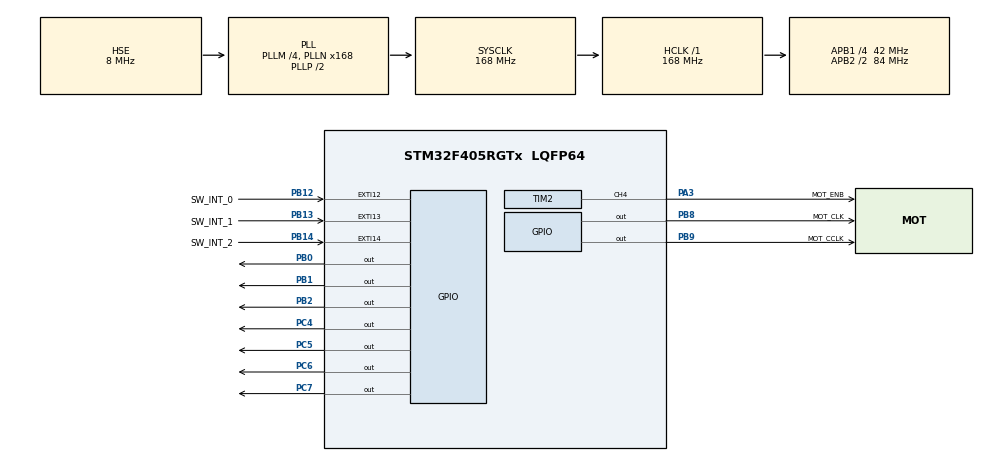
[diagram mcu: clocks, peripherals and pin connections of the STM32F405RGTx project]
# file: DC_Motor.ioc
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Mcu.Family=STM32F4
Mcu.Name=STM32F405RGTx
Mcu.Package=LQFP64
NVIC.EXTI15_10_IRQn=true\:0\:0\:false\:false\:true\:true\:true
NVIC.PriorityGroup=NVIC_PRIORITYGROUP_4
PA13.Mode=Serial_Wire
PA13.Signal=SYS_JTMS-SWDIO
PA14.Mode=Serial_Wire
PA14.Signal=SYS_JTCK-SWCLK
PA3.GPIO_Label=MOT_ENB
PA3.Signal=S_TIM2_CH4
PB0.Signal=GPIO_Output
PB1.Signal=GPIO_Output
PB12.GPIO_Label=SW_INT_0
PB12.Signal=GPXTI12
PB13.GPIO_Label=SW_INT_1
PB13.Signal=GPXTI13
PB14.GPIO_Label=SW_INT_2
PB14.Signal=GPXTI14
PB2.Signal=GPIO_Output
PB8.GPIO_Label=MOT_CLK
PB8.Signal=GPIO_Output
PB9.GPIO_Label=MOT_CCLK
PB9.Signal=GPIO_Output
PC4.Signal=GPIO_Output
PC5.Signal=GPIO_Output
PC6.Signal=GPIO_Output
PC7.Signal=GPIO_Output
PH0-OSC_IN.Mode=HSE-External-Oscillator
PH0-OSC_IN.Signal=RCC_OSC_IN
PH1-OSC_OUT.Mode=HSE-External-Oscillator
PH1-OSC_OUT.Signal=RCC_OSC_OUT
ProjectManager.HeapSize=0x200
ProjectManager.StackSize=0x400
ProjectManager.TargetToolchain=EWARM V8.32
RCC.48MHZClocksFreq_Value=84000000
RCC.AHBFreq_Value=168000000
RCC.APB1CLKDivider=RCC_HCLK_DIV4
RCC.APB1Freq_Value=42000000
RCC.APB1TimFreq_Value=84000000
RCC.APB2CLKDivider=RCC_HCLK_DIV2
RCC.APB2Freq_Value=84000000
RCC.APB2TimFreq_Value=168000000
RCC.CortexFreq_Value=168000000
RCC.HCLKFreq_Value=168000000
RCC.HSE_VALUE=8000000
RCC.HSI_VALUE=16000000
RCC.LSE_VALUE=32768
RCC.PLLM=4
RCC.PLLN=168
RCC.PLLSourceVirtual=RCC_PLLSOURCE_HSE
RCC.SYSCLKFreq_VALUE=168000000
RCC.SYSCLKSource=RCC_SYSCLKSOURCE_PLLCLK
RCC.VCOOutputFreq_Value=336000000
SH.S_TIM2_CH4.0=TIM2_CH4,PWM Generation4 CH4
TIM2.Channel-PWM\ Generation4\ CH4=TIM_CHANNEL_4
TIM2.Period=100 - 1
TIM2.Prescaler=42 - 1
TIM2.Pulse-PWM\ Generation4\ CH4=70
VP_TIM2_VS_ClockSourceINT.Mode=Internal
board=custom

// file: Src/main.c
/* USER CODE BEGIN Header */
/**
  ******************************************************************************
  * @file           : main.c
  * @brief          : Main program body
  ******************************************************************************
  * @attention
  *
  * <h2><center>&copy; Copyright (c) 2020 STMicroelectronics.
  * All rights reserved.</center></h2>
  *
  * This software component is licensed by ST under BSD 3-Clause license,
  * the "License"; You may not use this file except in compliance with the
  * License. You may obtain a copy of the License at:
  *                        opensource.org/licenses/BSD-3-Clause
  *
  ******************************************************************************
  */
/* USER CODE END Header */

#include "main.h"
#include "tim.h"
#include "gpio.h"

/* USER CODE BEGIN Includes */
#include "lcd.h"
#include <stdio.h>
#include <string.h>
/* USER CODE END Includes */

/* USER CODE BEGIN PD */
#define STR_MAX 16
/* USER CODE END PD */

void SystemClock_Config(void);
/* USER CODE BEGIN PFP */
void DcMotorClockwiseRotate();
void DcMotorCounterClockwiseRotate();
void DcMotorFastStop();
void DcMotorFreeRunningStop();
void HAL_GPIO_EXTI_Callback(uint16_t GPIO_Pin);
/* USER CODE END PFP */

int main(void)
{

  /* MCU Configuration--------------------------------------------------------*/

  /* Reset of all peripherals, Initializes the Flash interface and the Systick. */
  HAL_Init();

  /* Configure the system clock */
  SystemClock_Config();

  /* Initialize all configured peripherals */
  MX_GPIO_Init();
  MX_TIM2_Init();
  /* USER CODE BEGIN 2 */
  lcdInit();
  HAL_TIM_PWM_Start(&htim2, TIM_CHANNEL_4);
  /* USER CODE END 2 */

  /* Infinite loop */
  /* USER CODE BEGIN WHILE */
  uint32_t duty = 70, turn = 0;
  char lcdStr[STR_MAX];
  HAL_GPIO_WritePin(MOT_CLK_GPIO_Port, MOT_CLK_Pin, GPIO_PIN_SET);
  HAL_GPIO_WritePin(MOT_CCLK_GPIO_Port, MOT_CCLK_Pin, GPIO_PIN_RESET);
  while (1)
  {
    if (turn == 0)
    {
      duty--;
      if (duty <= 0)
      {
        duty = 0;
        turn = 1;
      }
    }
    else
    {
      duty++;
      if (duty >= 99)
      {
        duty = 99;
        turn = 0;
      }
    }
    sprintf(lcdStr, "Duty : %03d%%", duty);
    lcdGotoXY(0, 0);
    lcdPrintData(lcdStr, strlen(lcdStr));
    TIM2->EGR &= ~(0x01);
    TIM2->CCR4 = duty;
    TIM2->EGR |= (0x01);
    /* USER CODE END WHILE */

    /* USER CODE BEGIN 3 */
    HAL_Delay(333);
  }
  /* USER CODE END 3 */
}

void SystemClock_Config(void)
{
  RCC_OscInitTypeDef RCC_OscInitStruct = {0};
  RCC_ClkInitTypeDef RCC_ClkInitStruct = {0};

  /** Configure the main internal regulator output voltage
  */
  __HAL_RCC_PWR_CLK_ENABLE();
  __HAL_PWR_VOLTAGESCALING_CONFIG(PWR_REGULATOR_VOLTAGE_SCALE1);
  /** Initializes the CPU, AHB and APB busses clocks
  */
  RCC_OscInitStruct.OscillatorType = RCC_OSCILLATORTYPE_HSE;
  RCC_OscInitStruct.HSEState = RCC_HSE_ON;
  RCC_OscInitStruct.PLL.PLLState = RCC_PLL_ON;
  RCC_OscInitStruct.PLL.PLLSource = RCC_PLLSOURCE_HSE;
  RCC_OscInitStruct.PLL.PLLM = 4;
  RCC_OscInitStruct.PLL.PLLN = 168;
  RCC_OscInitStruct.PLL.PLLP = RCC_PLLP_DIV2;
  RCC_OscInitStruct.PLL.PLLQ = 4;
  if (HAL_RCC_OscConfig(&RCC_OscInitStruct) != HAL_OK)
  {
    Error_Handler();
  }
  /** Initializes the CPU, AHB and APB busses clocks
  */
  RCC_ClkInitStruct.ClockType = RCC_CLOCKTYPE_HCLK | RCC_CLOCKTYPE_SYSCLK | RCC_CLOCKTYPE_PCLK1 | RCC_CLOCKTYPE_PCLK2;
  RCC_ClkInitStruct.SYSCLKSource = RCC_SYSCLKSOURCE_PLLCLK;
  RCC_ClkInitStruct.AHBCLKDivider = RCC_SYSCLK_DIV1;
  RCC_ClkInitStruct.APB1CLKDivider = RCC_HCLK_DIV4;
  RCC_ClkInitStruct.APB2CLKDivider = RCC_HCLK_DIV2;

  if (HAL_RCC_ClockConfig(&RCC_ClkInitStruct, FLASH_LATENCY_5) != HAL_OK)
  {
    Error_Handler();
  }
}

/* USER CODE BEGIN 4 */
void DcMotorClockwiseRotate()
{
  HAL_GPIO_WritePin(MOT_ENB_GPIO_Port, MOT_ENB_Pin, GPIO_PIN_SET);
  HAL_GPIO_WritePin(MOT_CLK_GPIO_Port, MOT_CLK_Pin, GPIO_PIN_SET);
  HAL_GPIO_WritePin(MOT_CCLK_GPIO_Port, MOT_CCLK_Pin, GPIO_PIN_RESET);
}

void DcMotorCounterClockwiseRotate()
{
  HAL_GPIO_WritePin(MOT_ENB_GPIO_Port, MOT_ENB_Pin, GPIO_PIN_SET);
  HAL_GPIO_WritePin(MOT_CLK_GPIO_Port, MOT_CLK_Pin, GPIO_PIN_RESET);
  HAL_GPIO_WritePin(MOT_CCLK_GPIO_Port, MOT_CCLK_Pin, GPIO_PIN_SET);
}

void DcMotorFastStop()
{
  HAL_GPIO_WritePin(MOT_CLK_GPIO_Port, MOT_CLK_Pin, GPIO_PIN_SET);
  HAL_GPIO_WritePin(MOT_CCLK_GPIO_Port, MOT_CCLK_Pin, GPIO_PIN_SET);
}

void DcMotorFreeRunningStop()
{
  HAL_GPIO_WritePin(MOT_ENB_GPIO_Port, MOT_ENB_Pin, GPIO_PIN_RESET);
}

void HAL_GPIO_EXTI_Callback(uint16_t GPIO_Pin)
{
}
/* USER CODE END 4 */

void Error_Handler(void)
{
}

/************************ (C) COPYRIGHT STMicroelectronics *****END OF FILE****/
